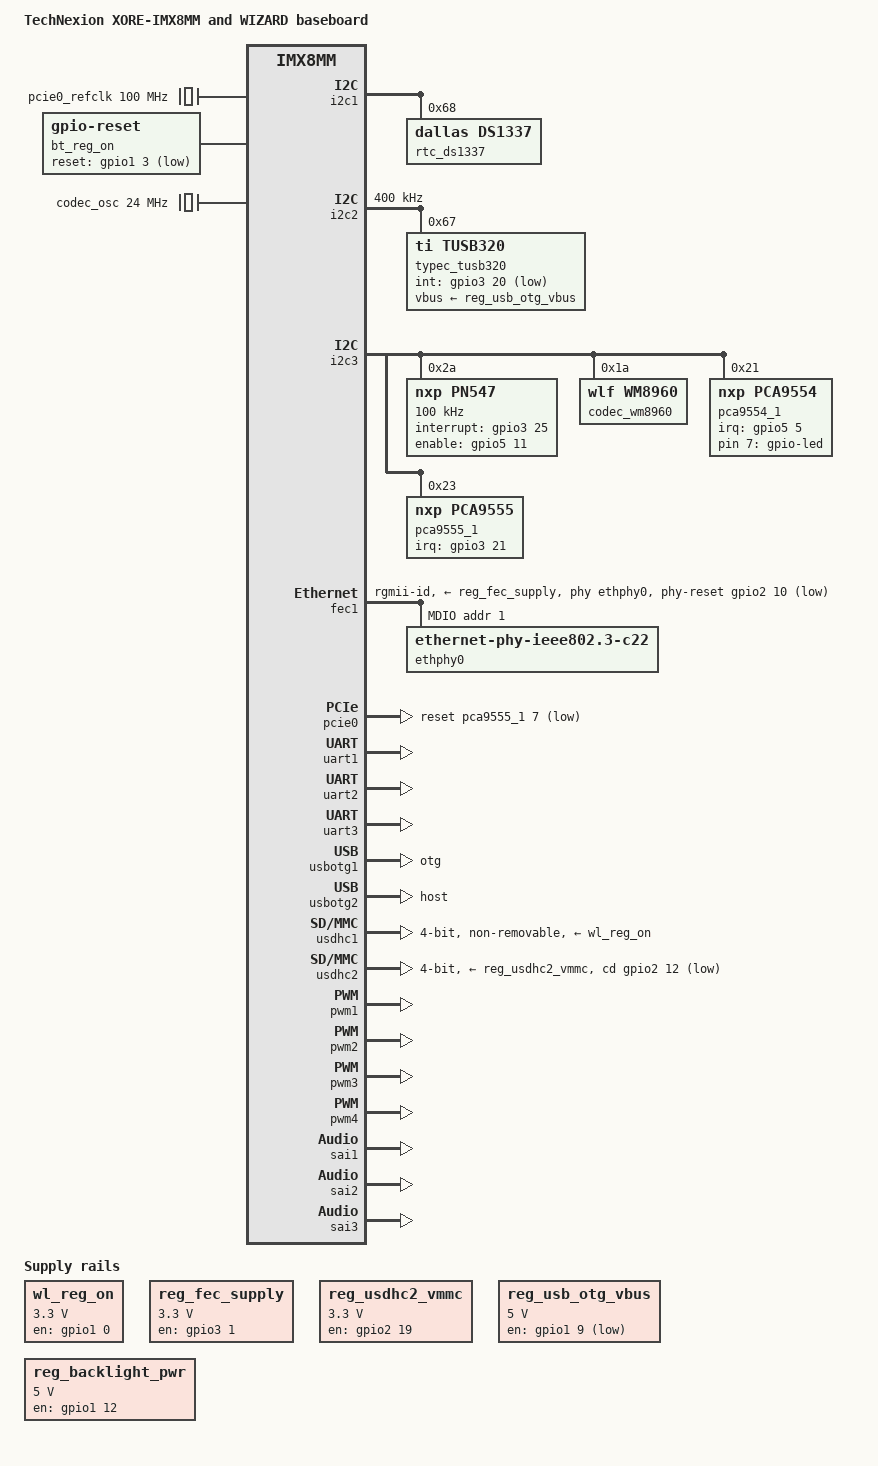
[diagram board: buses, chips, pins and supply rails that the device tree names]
/*
 * Copyright 2018 TechNexion Ltd.
 * Copyright 2018 NXP
 *
 * Author: Richard Hu <richard.hu@technexion.com>
 *         Ray Chang <ray.chang@technexion.com>
 *         Andy Lin <andy.lin@technexion.com>
 *
 * This program is free software; you can redistribute it and/or
 * modify it under the terms of the GNU General Public License
 * as published by the Free Software Foundation; either version 2
 * of the License, or (at your option) any later version.
 *
 * This program is distributed in the hope that it will be useful,
 * but WITHOUT ANY WARRANTY; without even the implied warranty of
 * MERCHANTABILITY or FITNESS FOR A PARTICULAR PURPOSE.  See the
 * GNU General Public License for more details.
 */

/dts-v1/;

#include "imx8mm-xore.dtsi"

&gpio1 {
	pinctrl-names = "default";
	pinctrl-0 = <&pinctrl_gpio1>;
	gpio-line-names =
		"", "", "", "", "", "", "", "",
		"", "", "MIPI_BL_EN", "", "", "", "", "",
		"", "", "", "", "", "", "", "",
		"", "", "", "", "", "", "", "";
};

&gpio3 {
	pinctrl-names = "default";
	pinctrl-0 = <&pinctrl_gpio3>;
	gpio-line-names =
		"", "", "", "", "", "", "", "",
		"", "", "", "", "", "", "", "",
		"", "", "", "RTC_INTA", "", "", "", "",
		"", "", "", "", "", "", "", "";
};

&gpio4 {
	pinctrl-names = "default";
	pinctrl-0 = <&pinctrl_gpio4>;
	gpio-line-names =
		"GPIO_04", "GPIO_05", "", "", "", "", "", "",
		"", "", "", "", "", "", "", "",
		"", "", "", "", "GPIO_01", "", "", "",
		"", "", "", "", "HUB_RESET", "", "", "";
};

/ {
	model = "TechNexion XORE-IMX8MM and WIZARD baseboard";
	compatible = "fsl,imx8mm-xore", "fsl,imx8mm";

    reserved-memory {
        #address-cells = <2>;
        #size-cells = <2>;
        ranges;

        rpmsg_reserved: rpmsg@0xb8000000 {
            no-map;
            reg = <0 0xb8000000 0 0x400000>;
        };
    };

    pcie0_refclk: pcie0-refclk {
        compatible = "fixed-clock";
        #clock-cells = <0>;
        clock-frequency = <100000000>;
    };

	bt_reg_on: btreg_on {
		compatible = "gpio-reset";
		pinctrl-names = "default";
		pinctrl-0 = <&pinctrl_bt_ctrl>;
		reset-gpios = <&gpio1 3 GPIO_ACTIVE_LOW>;
		reset-delay-us = <2000>;
		reset-post-delay-ms = <40>;
		#reset-cells = <0>;
	};

	regulators {
		compatible = "simple-bus";
		#address-cells = <1>;
		#size-cells = <0>;

		wl_reg_on: wlreg_on {
			compatible = "regulator-fixed";
			pinctrl-names = "default";
			pinctrl-0 = <&pinctrl_wifi_ctrl>;
			regulator-name = "WL_REG_ON";
			regulator-min-microvolt = <3300000>;
			regulator-max-microvolt = <3300000>;
			gpio = <&gpio1 0 GPIO_ACTIVE_HIGH>;
			off-on-delay = <20000>;
			startup-delay-us = <100>;
			enable-active-high;
		};

		reg_fec_supply: regulator_fecpwr {
			compatible = "regulator-fixed";
			pinctrl-names = "default";
			pinctrl-0 = <&pinctrl_fec_pwr_en>;
			regulator-name = "ENET_PWR_EN";
			regulator-min-microvolt = <3300000>;
			regulator-max-microvolt = <3300000>;
			gpio = <&gpio3 1 GPIO_ACTIVE_HIGH>;
			off-on-delay = <20000>;
			startup-delay-us = <100>;
			regulator-always-on;
			enable-active-high;
		};

		reg_usdhc2_vmmc: regulator-usdhc2 {
			compatible = "regulator-fixed";
			regulator-name = "SD_3V3";
			regulator-min-microvolt = <3300000>;
			regulator-max-microvolt = <3300000>;
			gpio = <&gpio2 19 GPIO_ACTIVE_HIGH>;
			off-on-delay = <20000>;
			enable-active-high;
		};

		reg_usb_otg_vbus: usb_otg_vbus {
			pinctrl-names = "default";
			pinctrl-0 = <&pinctrl_otg_vbus>;
			compatible = "regulator-fixed";
			regulator-name = "usb_otg_vbus";
			regulator-min-microvolt = <5000000>;
			regulator-max-microvolt = <5000000>;
			gpio = <&gpio1 9 GPIO_ACTIVE_LOW>;
		};

		reg_backlight_pwr: regulator_blpwr {
			pinctrl-names = "default";
			pinctrl-0 = <&pinctrl_backlight_pwr>;
			compatible = "regulator-fixed";
			regulator-name = "backlight_pwr";
			regulator-min-microvolt = <5000000>;
			regulator-max-microvolt = <5000000>;
			gpio = <&gpio1 12 GPIO_ACTIVE_HIGH>;
			enable-active-high;
		};
	};

	backlight_mipi {
		compatible = "pwm-backlight";
		pwms = <&pwm1 0 50000 0>;
		brightness-levels = <0 36 72 108 144 180 216 255>;
		default-brightness-level = <6>;
		power-supply = <&reg_backlight_pwr>;
		status = "disabled";
	};
	
	leds {
		compatible = "gpio-leds";
		pinctrl-names = "default";

		led {
			label = "gpio-led";
			gpios = <&pca9554_1 7 0>;
			linux,default-trigger = "heartbeat";
		};
	};

	sound_wm8960: sound-wm8960 {
		compatible = "fsl,imx-audio-wm8960";
		model = "wm8960-audio";
		cpu-dai = <&sai2>;
		codec-master;
		audio-codec = <&codec_wm8960>;
		audio-routing =
			"Headphone Jack", "HP_L",
			"Headphone Jack", "HP_R",
			"Ext Spk", "SPK_LP",
			"Ext Spk", "SPK_LN",
			"Ext Spk", "SPK_RP",
			"Ext Spk", "SPK_RN",
			"LINPUT1", "Main MIC",
			"RINPUT1", "Main MIC",
			"Main MIC", "MICB";
		/* JD2: hp detect high for headphone*/
		hp-det = <2 0>;
	};

	clocks {
		codec_osc: aud_mclk {
			compatible = "fixed-clock";
			#clock-cells = <0>;
			clock-frequency = <24000000>;
			clock-output-names = "wm8960-mclk";
		};
	};
};

&iomuxc {
	pinctrl-names = "default";

	imx8mm-xore {
		pinctrl_gpio1: gpio1grp {
			fsl,pins = <
				MX8MM_IOMUXC_GPIO1_IO10_GPIO1_IO10	0x19 /* MIPI_BL_EN */
			>;
		};

		pinctrl_gpio3: gpio3grp {
			fsl,pins = <
				MX8MM_IOMUXC_SAI5_RXFS_GPIO3_IO19	0x19 /* GPIO_07, RTC_INTA */
			>;
		};

		pinctrl_gpio4: gpio4grp {
			fsl,pins = <
				MX8MM_IOMUXC_SAI1_RXFS_GPIO4_IO0	0x19 /* GPIO_04, CLIX1_INT0 */
				MX8MM_IOMUXC_SAI1_RXC_GPIO4_IO1		0x19 /* GPIO_05, CLIX2_RST */
				MX8MM_IOMUXC_SAI1_MCLK_GPIO4_IO20	0x19 /* GPIO_01, CLIX1_RST */
			>;
		};

		pinctrl_fec_pwr_en: fec_pwr_en_irqgrp {
			fsl,pins = <
				MX8MM_IOMUXC_NAND_CE0_B_GPIO3_IO1	0x19
			>;
		};

		pinctrl_fec1: fec1grp {
			fsl,pins = <
				MX8MM_IOMUXC_ENET_MDC_ENET1_MDC			0x3
				MX8MM_IOMUXC_ENET_MDIO_ENET1_MDIO		0x3
				MX8MM_IOMUXC_ENET_TD3_ENET1_RGMII_TD3		0x1f
				MX8MM_IOMUXC_ENET_TD2_ENET1_RGMII_TD2		0x1f
				MX8MM_IOMUXC_ENET_TD1_ENET1_RGMII_TD1		0x1f
				MX8MM_IOMUXC_ENET_TD0_ENET1_RGMII_TD0		0x1f
				MX8MM_IOMUXC_ENET_RD3_ENET1_RGMII_RD3		0x91
				MX8MM_IOMUXC_ENET_RD2_ENET1_RGMII_RD2		0x91
				MX8MM_IOMUXC_ENET_RD1_ENET1_RGMII_RD1		0x91
				MX8MM_IOMUXC_ENET_RD0_ENET1_RGMII_RD0		0x91
				MX8MM_IOMUXC_ENET_TXC_ENET1_RGMII_TXC		0x1f
				MX8MM_IOMUXC_ENET_RXC_ENET1_RGMII_RXC		0x91
				MX8MM_IOMUXC_ENET_RX_CTL_ENET1_RGMII_RX_CTL	0x91
				MX8MM_IOMUXC_ENET_TX_CTL_ENET1_RGMII_TX_CTL	0x1f
				MX8MM_IOMUXC_SD1_RESET_B_GPIO2_IO10		0x19 /* ENET_nRST */
				MX8MM_IOMUXC_SD1_STROBE_GPIO2_IO11		0x41 /* ENET_nINT */
			>;
		};

		pinctrl_ecspi2: ecspi2grp {
			fsl,pins = <
				MX8MM_IOMUXC_ECSPI2_SCLK_ECSPI2_SCLK    0x82
				MX8MM_IOMUXC_ECSPI2_MOSI_ECSPI2_MOSI    0x82
				MX8MM_IOMUXC_ECSPI2_MISO_ECSPI2_MISO    0x82
			>;
		};

		pinctrl_ecspi2_cs: ecspi2cs {
			fsl,pins = <
				MX8MM_IOMUXC_ECSPI2_SS0_GPIO5_IO13      0x16
			>;
		};

		pinctrl_i2c1: i2c1grp {
			fsl,pins = <
				MX8MM_IOMUXC_I2C1_SCL_I2C1_SCL		0x400001c3
				MX8MM_IOMUXC_I2C1_SDA_I2C1_SDA		0x400001c3
			>;
		};

		pinctrl_i2c2: i2c2grp {
			fsl,pins = <
				MX8MM_IOMUXC_I2C2_SCL_I2C2_SCL		0x400001c3
				MX8MM_IOMUXC_I2C2_SDA_I2C2_SDA		0x400001c3
			>;
		};

		pinctrl_i2c3: i2c3grp {
			fsl,pins = <
				MX8MM_IOMUXC_I2C3_SCL_I2C3_SCL		0x400001c3
				MX8MM_IOMUXC_I2C3_SDA_I2C3_SDA		0x400001c3
			>;
		};

		pinctrl_sai1: sai1grp {
			fsl,pins = <
				MX8MM_IOMUXC_SAI1_TXFS_SAI1_TX_SYNC	0xd6
				MX8MM_IOMUXC_SAI1_TXC_SAI1_TX_BCLK	0xd6
				MX8MM_IOMUXC_SAI1_TXD0_SAI1_TX_DATA0	0xd6
				MX8MM_IOMUXC_SAI1_TXD1_SAI1_TX_DATA1	0xd6
				MX8MM_IOMUXC_SAI1_TXD2_SAI1_TX_DATA2	0xd6
				MX8MM_IOMUXC_SAI1_TXD3_SAI1_TX_DATA3	0xd6
				MX8MM_IOMUXC_SAI1_TXD4_SAI1_TX_DATA4	0xd6
				MX8MM_IOMUXC_SAI1_TXD5_SAI1_TX_DATA5	0xd6
				MX8MM_IOMUXC_SAI1_TXD6_SAI1_TX_DATA6	0xd6
				MX8MM_IOMUXC_SAI1_TXD7_SAI1_TX_DATA7	0xd6
				MX8MM_IOMUXC_SAI1_RXD0_SAI1_RX_DATA0	0xd6
				MX8MM_IOMUXC_SAI1_RXD1_SAI1_RX_DATA1	0xd6
				MX8MM_IOMUXC_SAI1_RXD2_SAI1_RX_DATA2	0xd6
				MX8MM_IOMUXC_SAI1_RXD3_SAI1_RX_DATA3	0xd6
				MX8MM_IOMUXC_SAI1_RXD4_SAI1_RX_DATA4	0xd6
				MX8MM_IOMUXC_SAI1_RXD5_SAI1_RX_DATA5	0xd6
				MX8MM_IOMUXC_SAI1_RXD6_SAI1_RX_DATA6	0xd6
				MX8MM_IOMUXC_SAI1_RXD7_SAI1_RX_DATA7	0xd6
			>;
		};

		pinctrl_sai2: sai2grp {
			fsl,pins = <
				MX8MM_IOMUXC_SAI2_TXFS_SAI2_TX_SYNC	0xd6
				MX8MM_IOMUXC_SAI2_TXC_SAI2_TX_BCLK	0xd6
				MX8MM_IOMUXC_SAI2_MCLK_SAI2_MCLK	0xd6
				MX8MM_IOMUXC_SAI2_TXD0_SAI2_TX_DATA0	0xd6
				MX8MM_IOMUXC_SAI2_RXD0_SAI2_RX_DATA0	0xd6
			>;
		};

		pinctrl_sai3: sai3grp {
			fsl,pins = <
				MX8MM_IOMUXC_SAI3_TXFS_SAI3_TX_SYNC	0xd6
				MX8MM_IOMUXC_SAI3_TXC_SAI3_TX_BCLK	0xd6
				MX8MM_IOMUXC_SAI3_MCLK_SAI3_MCLK	0xd6
				MX8MM_IOMUXC_SAI3_TXD_SAI3_TX_DATA0	0xd6
				MX8MM_IOMUXC_SAI3_RXD_SAI3_RX_DATA0	0xd6
			>;
		};

		pinctrl_pwm1: pwm1_grp {
			fsl,pins = <
				MX8MM_IOMUXC_GPIO1_IO01_PWM1_OUT	0x16 /* DSI PWM */
			>;
		};

		pinctrl_pwm2: pwm2_grp {
			fsl,pins = <
				MX8MM_IOMUXC_GPIO1_IO13_PWM2_OUT	0x16
			>;
		};

		pinctrl_pwm3: pwm3_grp {
			fsl,pins = <
				MX8MM_IOMUXC_SPDIF_TX_PWM3_OUT		0x16
			>;
		};

		pinctrl_pwm4: pwm4_grp {
			fsl,pins = <
				MX8MM_IOMUXC_GPIO1_IO15_PWM4_OUT	0x16
			>;
		};

		pinctrl_uart1: uart1grp {
			fsl,pins = <
				MX8MM_IOMUXC_UART1_RXD_UART1_DCE_RX	0x140
				MX8MM_IOMUXC_UART1_TXD_UART1_DCE_TX	0x140
				MX8MM_IOMUXC_UART3_RXD_UART1_DCE_CTS_B	0x140
				MX8MM_IOMUXC_UART3_TXD_UART1_DCE_RTS_B	0x140
			>;
		};

		pinctrl_uart2: uart2grp {
			fsl,pins = <
				MX8MM_IOMUXC_UART2_RXD_UART2_DCE_RX	0x140
				MX8MM_IOMUXC_UART2_TXD_UART2_DCE_TX	0x140
			>;
		};

		pinctrl_uart3: uart3grp {
			fsl,pins = <
				MX8MM_IOMUXC_ECSPI1_SCLK_UART3_DCE_RX		0x140
				MX8MM_IOMUXC_ECSPI1_MOSI_UART3_DCE_TX		0x140
				MX8MM_IOMUXC_ECSPI1_SS0_UART3_DCE_RTS_B		0x140
				MX8MM_IOMUXC_ECSPI1_MISO_UART3_DCE_CTS_B	0x140
			>;
		};

		pinctrl_usdhc1: usdhc1grp {
			fsl,pins = <
				MX8MM_IOMUXC_SD1_CLK_USDHC1_CLK		0x190
				MX8MM_IOMUXC_SD1_CMD_USDHC1_CMD		0x1d0
				MX8MM_IOMUXC_SD1_DATA0_USDHC1_DATA0	0x1d0
				MX8MM_IOMUXC_SD1_DATA1_USDHC1_DATA1	0x1d0
				MX8MM_IOMUXC_SD1_DATA2_USDHC1_DATA2	0x1d0
				MX8MM_IOMUXC_SD1_DATA3_USDHC1_DATA3	0x1d0
				MX8MM_IOMUXC_SD1_DATA4_USDHC1_DATA4	0x1d0
				MX8MM_IOMUXC_SD1_DATA5_USDHC1_DATA5	0x1d0
				MX8MM_IOMUXC_SD1_DATA6_USDHC1_DATA6	0x1d0
				MX8MM_IOMUXC_SD1_DATA7_USDHC1_DATA7	0x1d0
			>;
		};

		pinctrl_usdhc1_100mhz: usdhc1grp100mhz {
			fsl,pins = <
				MX8MM_IOMUXC_SD1_CLK_USDHC1_CLK		0x194
				MX8MM_IOMUXC_SD1_CMD_USDHC1_CMD		0x1d4
				MX8MM_IOMUXC_SD1_DATA0_USDHC1_DATA0	0x1d4
				MX8MM_IOMUXC_SD1_DATA1_USDHC1_DATA1	0x1d4
				MX8MM_IOMUXC_SD1_DATA2_USDHC1_DATA2	0x1d4
				MX8MM_IOMUXC_SD1_DATA3_USDHC1_DATA3	0x1d4
				MX8MM_IOMUXC_SD1_DATA4_USDHC1_DATA4	0x1d4
				MX8MM_IOMUXC_SD1_DATA5_USDHC1_DATA5	0x1d4
				MX8MM_IOMUXC_SD1_DATA6_USDHC1_DATA6	0x1d4
				MX8MM_IOMUXC_SD1_DATA7_USDHC1_DATA7	0x1d4
			>;
		};

		pinctrl_usdhc1_200mhz: usdhc1grp200mhz {
			fsl,pins = <
				MX8MM_IOMUXC_SD1_CLK_USDHC1_CLK		0x196
				MX8MM_IOMUXC_SD1_CMD_USDHC1_CMD		0x1d6
				MX8MM_IOMUXC_SD1_DATA0_USDHC1_DATA0	0x1d6
				MX8MM_IOMUXC_SD1_DATA1_USDHC1_DATA1	0x1d6
				MX8MM_IOMUXC_SD1_DATA2_USDHC1_DATA2	0x1d6
				MX8MM_IOMUXC_SD1_DATA3_USDHC1_DATA3	0x1d6
				MX8MM_IOMUXC_SD1_DATA4_USDHC1_DATA4	0x1d6
				MX8MM_IOMUXC_SD1_DATA5_USDHC1_DATA5	0x1d6
				MX8MM_IOMUXC_SD1_DATA6_USDHC1_DATA6	0x1d6
				MX8MM_IOMUXC_SD1_DATA7_USDHC1_DATA7	0x1d6
			>;
		};

		pinctrl_usdhc2_gpio: usdhc2grpgpio {
			fsl,pins = <
				MX8MM_IOMUXC_SD2_CD_B_GPIO2_IO12	0x1c4
				MX8MM_IOMUXC_SD2_RESET_B_GPIO2_IO19	0x41
			>;
		};

		pinctrl_usdhc2: usdhc2grp {
			fsl,pins = <
				MX8MM_IOMUXC_SD2_CLK_USDHC2_CLK		0x190
				MX8MM_IOMUXC_SD2_CMD_USDHC2_CMD		0x1d0
				MX8MM_IOMUXC_SD2_DATA0_USDHC2_DATA0	0x1d0
				MX8MM_IOMUXC_SD2_DATA1_USDHC2_DATA1	0x1d0
				MX8MM_IOMUXC_SD2_DATA2_USDHC2_DATA2	0x1d0
				MX8MM_IOMUXC_SD2_DATA3_USDHC2_DATA3	0x1d0
				MX8MM_IOMUXC_GPIO1_IO04_USDHC2_VSELECT	0x1d0
			>;
		};

		pinctrl_usdhc2_100mhz: usdhc2grp100mhz {
			fsl,pins = <
				MX8MM_IOMUXC_SD2_CLK_USDHC2_CLK		0x194
				MX8MM_IOMUXC_SD2_CMD_USDHC2_CMD		0x1d4
				MX8MM_IOMUXC_SD2_DATA0_USDHC2_DATA0	0x1d4
				MX8MM_IOMUXC_SD2_DATA1_USDHC2_DATA1	0x1d4
				MX8MM_IOMUXC_SD2_DATA2_USDHC2_DATA2	0x1d4
				MX8MM_IOMUXC_SD2_DATA3_USDHC2_DATA3	0x1d4
				MX8MM_IOMUXC_GPIO1_IO04_USDHC2_VSELECT	0x1d0
			>;
		};

		pinctrl_usdhc2_200mhz: usdhc2grp200mhz {
			fsl,pins = <
				MX8MM_IOMUXC_SD2_CLK_USDHC2_CLK		0x196
				MX8MM_IOMUXC_SD2_CMD_USDHC2_CMD		0x1d6
				MX8MM_IOMUXC_SD2_DATA0_USDHC2_DATA0	0x1d6
				MX8MM_IOMUXC_SD2_DATA1_USDHC2_DATA1	0x1d6
				MX8MM_IOMUXC_SD2_DATA2_USDHC2_DATA2	0x1d6
				MX8MM_IOMUXC_SD2_DATA3_USDHC2_DATA3	0x1d6
				MX8MM_IOMUXC_GPIO1_IO04_USDHC2_VSELECT	0x1d0
			>;
		};

		pinctrl_usb_hub_reset: usb_hub_resetgrp {
			fsl,pins = <
				MX8MM_IOMUXC_SAI3_RXFS_GPIO4_IO28	0x19
			>;
		};

		pinctrl_otg_vbus: otgvbusgrp {
			fsl,pins = <
				MX8MM_IOMUXC_GPIO1_IO09_GPIO1_IO9	0x19 /* USB OTG VBUS Enable */
			>;
		};

		pinctrl_backlight_pwr: backlight_pwrgrp {
			fsl,pins = <
				MX8MM_IOMUXC_GPIO1_IO12_GPIO1_IO12	0x19
			>;
		};

		pinctrl_dsi_pwm: dsi_pwmgrp {
			fsl,pins = <
				MX8MM_IOMUXC_GPIO1_IO01_GPIO1_IO1	0x16
			>;
		};

		pinctrl_tusb320_irq: tusb320_irqgrp {
			fsl,pins = <
				MX8MM_IOMUXC_SAI5_RXC_GPIO3_IO20	0x41 /* TUSB320 INT*/
			>;
		};

		pinctrl_csi_pwn: csi_pwn_grp {
			fsl,pins = <
				MX8MM_IOMUXC_GPIO1_IO08_GPIO1_IO8	0x19
			>;
		};

		pinctrl_csi_rst: csi_rst_grp {
			fsl,pins = <
				MX8MM_IOMUXC_GPIO1_IO05_GPIO1_IO5		0x19
				MX8MM_IOMUXC_GPIO1_IO14_CCMSRCGPCMIX_CLKO1	0x59
			>;
		};

		pinctrl_mipi_dsi_rst: mipi_dsi_rstgrp {
			fsl,pins = <
				MX8MM_IOMUXC_GPIO1_IO11_GPIO1_IO11	0x16 /* DSI RST */
			>;
		};

		pinctrl_touch_irq: touch_irqgrp {
			fsl,pins = <
				MX8MM_IOMUXC_SAI5_RXD1_GPIO3_IO22	0x41	/* Touch INT */
			>;
		};

		pinctrl_tfa98xx: tfa98xx_ctrlgrp {
			fsl,pins = <
				MX8MM_IOMUXC_ECSPI2_SCLK_GPIO5_IO10	0x19 /* RST */
				MX8MM_IOMUXC_ECSPI2_MISO_GPIO5_IO12	0x19 /* INT */
			>;
		};

		pinctrl_gpio_key_voicehat: gpiokey_voicehatgrp {
			fsl,pins = <
				MX8MM_IOMUXC_GPIO1_IO13_GPIO1_IO13	0x150 /* PWM2, KEY_PLAY */
				MX8MM_IOMUXC_SAI1_RXD6_GPIO4_IO8	0x150 /* KEY_NEXT */
				MX8MM_IOMUXC_GPIO1_IO06_GPIO1_IO6	0x150 /* KEY_PAIR */
				MX8MM_IOMUXC_SPDIF_TX_GPIO5_IO3		0x150 /* PWM3, KEY_ACT */
				MX8MM_IOMUXC_SAI1_TXD7_GPIO4_IO19	0x150 /* KEY_MUTE */
				MX8MM_IOMUXC_ECSPI2_SS0_GPIO5_IO13	0x150 /* KEY_UP */
				MX8MM_IOMUXC_SAI1_RXD7_GPIO4_IO9	0x150 /* KEY_PREV */
				MX8MM_IOMUXC_SAI1_TXD1_GPIO4_IO13	0x150 /* KEY_DOWN */
			>;
		};

		pinctrl_wifi_ctrl: wifi_ctrlgrp {
			fsl,pins = <
				MX8MM_IOMUXC_GPIO1_IO00_GPIO1_IO0	0x41 /* WL_REG_ON */
				MX8MM_IOMUXC_SAI5_RXD2_GPIO3_IO23	0x150 /* WL_WAKE_HOST */
			>;
		};

		pinctrl_bt_ctrl: bt_ctrlgrp {
			fsl,pins = <
				MX8MM_IOMUXC_GPIO1_IO03_GPIO1_IO3	0x41 /* BT_REG_ON */
				MX8MM_IOMUXC_SAI5_RXD3_GPIO3_IO24	0x150 /* BT_WAKE_HOST */
			>;
		};

		pinctrl_pcie1_rst: pcie1rstgrp {
			fsl,pins = <
				MX8MM_IOMUXC_SAI3_RXC_GPIO4_IO29	0x19 /* PCIE1_nRST */
			>;
		};

		pinctrl_pcie1_ctrl: pcie1ctrlgrp {
			fsl,pins = <
				MX8MM_IOMUXC_SPDIF_RX_GPIO5_IO4		0x37
			>;
		};

		pinctrl_pca9554_1: pca9554_1grp {
			fsl,pins = <
				MX8MM_IOMUXC_SPDIF_EXT_CLK_GPIO5_IO5	0x150 /* irq */
			>;
		};
		
		pinctrl_pca9555_1: pca9555_1grp {
			fsl,pins = <
				MX8MM_IOMUXC_SAI5_RXD0_GPIO3_IO21	0x150 /* irq */
			>;
		};

		/* NFC was adapt to CLIX2 and using I2C3 */
		pinctrl_nfc_ctrl: nfc_ctrl {
			fsl,pins = <
				MX8MM_IOMUXC_SAI5_MCLK_GPIO3_IO25       0x19    /* PIN_INT */
				MX8MM_IOMUXC_ECSPI2_MOSI_GPIO5_IO11     0x19    /* PIN_ENABLE */
			>;
		};
	};
};

&i2c1 {
	pinctrl-names = "default";
	pinctrl-0 = <&pinctrl_i2c1>;
	status = "okay";

	rtc_ds1337: ds1337@68 {
		compatible = "dallas,ds1337";
		reg = <0x68>;
	};
};

&i2c2 {
	clock-frequency = <400000>;
	pinctrl-names = "default";
	pinctrl-0 = <&pinctrl_i2c2>;
	status = "okay";

	typec_tusb320:tusb320@67 {
		compatible = "ti,tusb320";
		pinctrl-names = "default";
		pinctrl-0 = <&pinctrl_tusb320_irq>;
		reg = <0x67>;
		vbus-supply = <&reg_usb_otg_vbus>;
		tusb320,int-gpio = <&gpio3 20 GPIO_ACTIVE_LOW>;
		tusb320,select-mode = <0>;
		tusb320,dfp-power = <0>;
	};
};

&i2c3 {
	pinctrl-names = "default";
	pinctrl-0 = <&pinctrl_i2c3>;
	status = "okay";

	/* NFC support */
	pn547: pn547@2a {
		compatible = "nxp,pn547";
		reg = <0x2a>;
		pinctrl-names = "default";
		pinctrl-0 = <&pinctrl_nfc_ctrl>;
		clock-frequency = <100000>;
		interrupt-gpios = <&gpio3 25 0>;
		enable-gpios = <&gpio5 11 0>;
		status = "okay";
	};

	codec_wm8960: wm8960@1a {
		compatible = "wlf,wm8960";
		#sound-dai-cells = <0>;
		reg = <0x1a>;
		clocks = <&codec_osc>;  /* Note:  XORE-WIZARD the clock is external osc */
		clock-names = "mclk";
		wlf,shared-lrclk;
		wlf,fixed-mclk;
		status = "okay";
   };

	pca9554_1: pca9554_1@21 {
		compatible = "nxp,pca9554";
		pinctrl-names = "default";
		pinctrl-0 = <&pinctrl_pca9554_1>;
		interrupt-parent = <&gpio5>;
		interrupts = <5 IRQ_TYPE_EDGE_FALLING>;
		reg =<0x21>;
		gpio-controller;
		#gpio-cells = <2>;
		interrupt-controller;
		#interrupt-cells = <2>;
	};

	pca9555_1: pca9555_1@23 {
		compatible = "nxp,pca9555";
		pinctrl-names = "default";
		pinctrl-0 = <&pinctrl_pca9555_1>;
		interrupt-parent = <&gpio3>;
		interrupts = <21 IRQ_TYPE_EDGE_FALLING>;
		reg =<0x23>;
		gpio-controller;
		#gpio-cells = <2>;
		interrupt-controller;
		#interrupt-cells = <2>;
	};
};

&ecspi2 {
	#address-cells = <1>;
	#size-cells = <0>;
	fsl,spi-num-chipselects = <1>;
	pinctrl-names = "default";
	pinctrl-0 = <&pinctrl_ecspi2 &pinctrl_ecspi2_cs>;
	cs-gpios = <&gpio5 13 GPIO_ACTIVE_LOW>;
	status = "disabled";
};

&fec1 {
	pinctrl-names = "default";
	pinctrl-0 = <&pinctrl_fec1>;
	phy-mode = "rgmii-id";
	phy-handle = <&ethphy0>;
	phy-reset-gpios = <&gpio2 10 GPIO_ACTIVE_LOW>;
	phy-supply = <&reg_fec_supply>;
	fsl,ar8031-phy-fixup;
	fsl,magic-packet;
	status = "okay";

	mdio {
		#address-cells = <1>;
		#size-cells = <0>;

		ethphy0: ethernet-phy@1 {
			compatible = "ethernet-phy-ieee802.3-c22";
			reg = <1>;
			at803x,led-act-blind-workaround;
			at803x,eee-disabled;
		};
	};
};

&pcie0{
	pinctrl-names = "default";
	pinctrl-0 = <&pinctrl_pcie1_ctrl>;
	clkreq-gpio = <&gpio5 4 GPIO_ACTIVE_LOW>; 
	disable-gpio = <&pca9555_1 1 GPIO_ACTIVE_LOW>;
	reset-gpio = <&pca9555_1 7 GPIO_ACTIVE_LOW>;
    clocks = <&clk IMX8MM_CLK_PCIE1_ROOT>,
         <&clk IMX8MM_CLK_PCIE1_AUX>,
         <&clk IMX8MM_CLK_PCIE1_PHY>,
         <&pcie0_refclk>;
    clock-names = "pcie", "pcie_aux", "pcie_phy", "pcie_bus";
    ext_osc = <1>;
    reserved-region = <&rpmsg_reserved>;
    status = "okay";
};

 /* Bluetooth */
&uart1 {
	pinctrl-names = "default";
	pinctrl-0 = <&pinctrl_uart1>;
	assigned-clocks = <&clk IMX8MM_CLK_UART1>;
	assigned-clock-parents = <&clk IMX8MM_SYS_PLL1_80M>;
	fsl,uart-has-rtscts;
	resets = <&bt_reg_on>;
	status = "okay";
};

/* i.MX8 Console */
&uart2 {
	pinctrl-names = "default";
	pinctrl-0 = <&pinctrl_uart2>;
	status = "okay";
};

&uart3 {
	pinctrl-names = "default";
	pinctrl-0 = <&pinctrl_uart3>;
	assigned-clocks = <&clk IMX8MM_CLK_UART3>;
	assigned-clock-parents = <&clk IMX8MM_SYS_PLL1_80M>;
	fsl,uart-has-rtscts;
	status = "okay";
};

&usbotg1 {
	dr_mode = "otg";
	picophy,pre-emp-curr-control = <3>;
	picophy,dc-vol-level-adjust = <7>;
	extcon = <0>, <&typec_tusb320>;
	status = "okay";
};

&usbotg2 {
	dr_mode = "host";
	picophy,pre-emp-curr-control = <3>;
	picophy,dc-vol-level-adjust = <7>;
	status = "okay";
};

/* WIFI SDIO */
&usdhc1 {
	pinctrl-names = "default", "state_100mhz", "state_200mhz";
	pinctrl-0 = <&pinctrl_usdhc1>;
	pinctrl-1 = <&pinctrl_usdhc1_100mhz>;
	pinctrl-2 = <&pinctrl_usdhc1_200mhz>;
	vmmc-supply = <&wl_reg_on>;
	bus-width = <4>;
	pm-ignore-notify;
	keep-power-in-suspend;
	non-removable;
	status = "okay";
};

/* Baseboard microSD slot */
&usdhc2 {
	pinctrl-names = "default", "state_100mhz", "state_200mhz";
	pinctrl-0 = <&pinctrl_usdhc2>, <&pinctrl_usdhc2_gpio>;
	pinctrl-1 = <&pinctrl_usdhc2_100mhz>, <&pinctrl_usdhc2_gpio>;
	pinctrl-2 = <&pinctrl_usdhc2_200mhz>, <&pinctrl_usdhc2_gpio>;
	cd-gpios = <&gpio2 12 GPIO_ACTIVE_LOW>;
	vmmc-supply = <&reg_usdhc2_vmmc>;
	bus-width = <4>;
	status = "okay";
};

&pwm1 {
	pinctrl-names = "default";
	pinctrl-0 = <&pinctrl_pwm1>;
	status = "okay";
};

&pwm2 {
	pinctrl-names = "default";
	pinctrl-0 = <&pinctrl_pwm2>;
	status = "okay";
};

&pwm3 {
	pinctrl-names = "default";
	pinctrl-0 = <&pinctrl_pwm3>;
	status = "okay";
};

&pwm4 {
	pinctrl-names = "default";
	pinctrl-0 = <&pinctrl_pwm4>;
	status = "okay";
};

/* Bluetooth audio */
&sai1 {
	pinctrl-names = "default";
	pinctrl-0 = <&pinctrl_sai1>;
	#sound-dai-cells = <0>;
	assigned-clocks = <&clk IMX8MM_CLK_SAI1>;
	assigned-clock-parents = <&clk IMX8MM_AUDIO_PLL1_OUT>;
	assigned-clock-rates = <0>, <24576000>;
	clocks = <&clk IMX8MM_CLK_SAI1_IPG>, <&clk IMX8MM_CLK_DUMMY>,
			<&clk IMX8MM_CLK_SAI1_ROOT>, <&clk IMX8MM_CLK_DUMMY>,
			<&clk IMX8MM_CLK_DUMMY>, <&clk IMX8MM_AUDIO_PLL1_OUT>,
			<&clk IMX8MM_AUDIO_PLL2_OUT>;
	clock-names = "bus", "mclk0", "mclk1", "mclk2", "mclk3", "pll8k", "pll11k";
	status = "okay";
};

&sai2 {
    assigned-clocks = <&clk IMX8MM_AUDIO_PLL1>, <&clk IMX8MM_AUDIO_PLL2>, <&clk IMX8MM_CLK_SAI2>;
    assigned-clock-parents = <0>, <0>, <&clk IMX8MM_AUDIO_PLL1_OUT>;
    assigned-clock-rates = <786432000>, <722534400>, <12288000>;
    #sound-dai-cells = <0>;
    pinctrl-names = "default";
    pinctrl-0 = <&pinctrl_sai2>;
    status = "okay";
};

&sai3 {
	pinctrl-names = "default";
	pinctrl-0 = <&pinctrl_sai3>;
	assigned-clocks = <&clk IMX8MM_CLK_SAI3>;
	assigned-clock-parents = <&clk IMX8MM_AUDIO_PLL1_OUT>;
	assigned-clock-rates = <0>, <24576000>;
        clocks = <&clk IMX8MM_CLK_SAI3_IPG>, <&clk IMX8MM_CLK_DUMMY>,
                <&clk IMX8MM_CLK_SAI3_ROOT>, <&clk IMX8MM_CLK_DUMMY>,
                <&clk IMX8MM_CLK_DUMMY>, <&clk IMX8MM_AUDIO_PLL1_OUT>,
                <&clk IMX8MM_AUDIO_PLL2_OUT>;
        clock-names = "bus", "mclk0", "mclk1", "mclk2", "mclk3", "pll8k", "pll11k";
	#sound-dai-cells = <0>;
	status = "okay";
};
